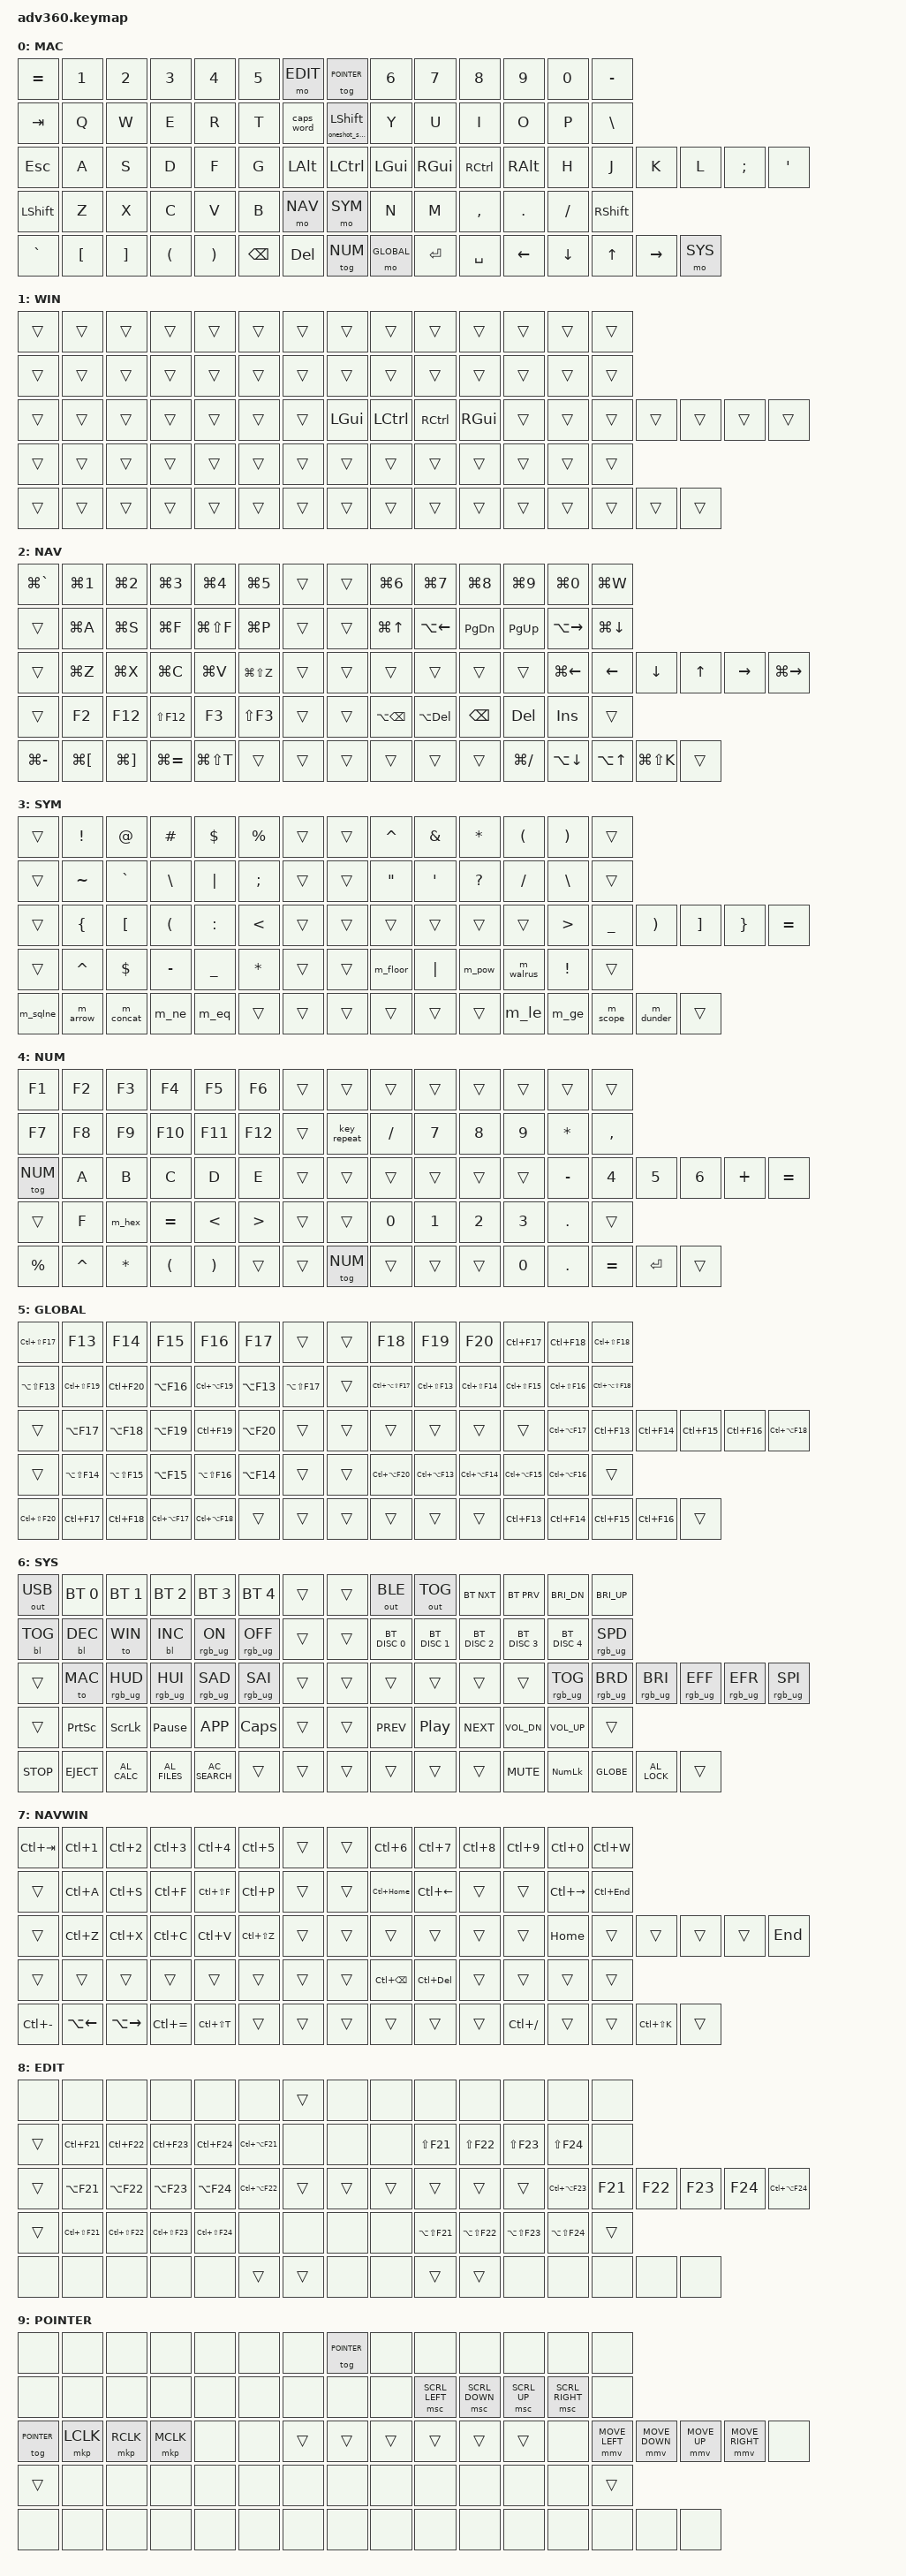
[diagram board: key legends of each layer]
/* Advantage360 Pro: immediate QWERTY, dedicated modifiers, macOS-first.
 * Positions and layer indices are stable; see the generated README diagrams.
 * EDIT/POINTER intentionally block unused keys. Git is the keymap authority.
 */
#include <behaviors.dtsi>
#include <dt-bindings/zmk/backlight.h>
#include <dt-bindings/zmk/bt.h>
#include <dt-bindings/zmk/keys.h>
#include <dt-bindings/zmk/outputs.h>
#include <dt-bindings/zmk/pointing.h>
#include <dt-bindings/zmk/rgb.h>
#include "macros.dtsi"

#define MAC      0
#define WIN      1
#define NAV      2
#define SYM      3
#define NUM      4
#define GLOBAL   5
#define SYS      6
#define NAV_WIN  7
#define EDIT     8
#define POINTER  9
#define KEYS_L  0  1  2  3  4  5  6 14 15 16 17 18 19 20 28 29 30 31 32 33 34 46 47 48 49 50 51 60 61 62 63 64
#define KEYS_R  7  8  9 10 11 12 13 21 22 23 24 25 26 27 39 40 41 42 43 44 45 54 55 56 57 58 59 71 72 73 74 75
#define THUMBS 35 36 37 38 52 53 65 66 67 68 69 70

/ {
    behaviors {
        oneshot_shift: oneshot_shift {
            compatible = "zmk,behavior-sticky-key";
            #binding-cells = <1>;
            release-after-ms = <1000>;
            quick-release;
            bindings = <&kp>;
        };
    };
    conditional_layers {
        compatible = "zmk,conditional-layers";
        nav_win {
            if-layers = <WIN NAV>;
            then-layer = <NAV_WIN>;
        };
    };
    combos {
        compatible = "zmk,combos";
        // SYS-only bilateral maintenance chords; no typing combos.
        combo_bt_clear {
            timeout-ms = <150>;
            key-positions = <0 13>;
            layers = <SYS>;
            bindings = <&bt BT_CLR>;
        };
        combo_sys_reset {
            timeout-ms = <150>;
            key-positions = <46 59>;
            layers = <SYS>;
            bindings = <&sys_reset>;
        };
        combo_bootloader {
            timeout-ms = <250>;
            key-positions = <20 21>;
            layers = <SYS>;
            bindings = <&bootloader>;
        };
    };
    keymap {
        compatible = "zmk,keymap";

        // Plain QWERTY. NUM/POINTER toggle; NAV/SYM/EDIT/GLOBAL are momentary.
        layer_mac {
            display-name = "MAC";
            bindings = <
                &kp EQUAL              &kp N1                 &kp N2                 &kp N3                 &kp N4                 &kp N5                 &mo EDIT               &tog POINTER           &kp N6                 &kp N7                 &kp N8                 &kp N9                 &kp N0                 &kp MINUS
                &kp TAB                &kp Q                  &kp W                  &kp E                  &kp R                  &kp T                  &caps_word             &oneshot_shift LSHFT   &kp Y                  &kp U                  &kp I                  &kp O                  &kp P                  &kp BSLH
                &kp ESC                &kp A                  &kp S                  &kp D                  &kp F                  &kp G                  &kp LALT               &kp LCTRL              &kp LGUI               &kp RGUI               &kp RCTRL              &kp RALT               &kp H                  &kp J                  &kp K                  &kp L                  &kp SEMI               &kp SQT
                &kp LSHFT              &kp Z                  &kp X                  &kp C                  &kp V                  &kp B                  &mo NAV                &mo SYM                &kp N                  &kp M                  &kp COMMA              &kp DOT                &kp FSLH               &kp RSHFT
                &kp GRAVE              &kp LBKT               &kp RBKT               &kp LPAR               &kp RPAR               &kp BSPC               &kp DEL                &tog NUM               &mo GLOBAL             &kp ENTER              &kp SPACE              &kp LEFT               &kp DOWN               &kp UP                 &kp RIGHT              &mo SYS
            >;
        };

        // Ctrl/GUI thumb swap for Windows and Linux; MAC is the fallback base.
        layer_win {
            display-name = "WIN";
            bindings = <
                &trans                 &trans                 &trans                 &trans                 &trans                 &trans                 &trans                 &trans                 &trans                 &trans                 &trans                 &trans                 &trans                 &trans
                &trans                 &trans                 &trans                 &trans                 &trans                 &trans                 &trans                 &trans                 &trans                 &trans                 &trans                 &trans                 &trans                 &trans
                &trans                 &trans                 &trans                 &trans                 &trans                 &trans                 &trans                 &kp LGUI               &kp LCTRL              &kp RCTRL              &kp RGUI               &trans                 &trans                 &trans                 &trans                 &trans                 &trans                 &trans
                &trans                 &trans                 &trans                 &trans                 &trans                 &trans                 &trans                 &trans                 &trans                 &trans                 &trans                 &trans                 &trans                 &trans
                &trans                 &trans                 &trans                 &trans                 &trans                 &trans                 &trans                 &trans                 &trans                 &trans                 &trans                 &trans                 &trans                 &trans                 &trans                 &trans
            >;
        };

        // JKL; arrows; H/quote line edges; UIOP words/pages; Y/backslash document edges.
        layer_nav {
            display-name = "NAV";
            bindings = <
                &kp LG(GRAVE)          &kp LG(N1)             &kp LG(N2)             &kp LG(N3)             &kp LG(N4)             &kp LG(N5)             &trans                 &trans                 &kp LG(N6)             &kp LG(N7)             &kp LG(N8)             &kp LG(N9)             &kp LG(N0)             &kp LG(W)
                &trans                 &kp LG(A)              &kp LG(S)              &kp LG(F)              &kp LG(LS(F))          &kp LG(P)              &trans                 &trans                 &kp LG(UP)             &kp LA(LEFT)           &kp PG_DN              &kp PG_UP              &kp LA(RIGHT)          &kp LG(DOWN)
                &trans                 &kp LG(Z)              &kp LG(X)              &kp LG(C)              &kp LG(V)              &kp LG(LS(Z))          &trans                 &trans                 &trans                 &trans                 &trans                 &trans                 &kp LG(LEFT)           &kp LEFT               &kp DOWN               &kp UP                 &kp RIGHT              &kp LG(RIGHT)
                &trans                 &kp F2                 &kp F12                &kp LS(F12)            &kp F3                 &kp LS(F3)             &trans                 &trans                 &kp LA(BSPC)           &kp LA(DEL)            &kp BSPC               &kp DEL                &kp INS                &trans
                &kp LG(MINUS)          &kp LG(LBKT)           &kp LG(RBKT)           &kp LG(EQUAL)          &kp LG(LS(T))          &trans                 &trans                 &trans                 &trans                 &trans                 &trans                 &kp LG(FSLH)           &kp LA(DOWN)           &kp LA(UP)             &kp LG(LS(K))          &trans
            >;
        };

        // ABC/US symbols. F colon, J underscore; N floor division.
        layer_sym {
            display-name = "SYM";
            bindings = <
                &trans                 &kp EXCL               &kp AT                 &kp HASH               &kp DLLR               &kp PRCNT              &trans                 &trans                 &kp CARET              &kp AMPS               &kp ASTRK              &kp LPAR               &kp RPAR               &trans
                &trans                 &kp TILDE              &kp GRAVE              &kp BSLH               &kp PIPE               &kp SEMI               &trans                 &trans                 &kp DQT                &kp SQT                &kp QMARK              &kp FSLH               &kp BSLH               &trans
                &trans                 &kp LBRC               &kp LBKT               &kp LPAR               &kp COLON              &kp LT                 &trans                 &trans                 &trans                 &trans                 &trans                 &trans                 &kp GT                 &kp UNDER              &kp RPAR               &kp RBKT               &kp RBRC               &kp EQUAL
                &trans                 &kp CARET              &kp DLLR               &kp MINUS              &kp UNDER              &kp ASTRK              &trans                 &trans                 &m_floor               &kp PIPE               &m_pow                 &m_walrus              &kp EXCL               &trans
                &m_sqlne               &m_arrow               &m_concat              &m_ne                  &m_eq                  &trans                 &trans                 &trans                 &trans                 &trans                 &trans                 &m_le                  &m_ge                  &m_scope               &m_dunder              &trans
            >;
        };

        // Thumb 67 toggles. Escape exits. Digits ignore NumLock.
        layer_num {
            display-name = "NUM";
            bindings = <
                &kp F1                 &kp F2                 &kp F3                 &kp F4                 &kp F5                 &kp F6                 &trans                 &trans                 &trans                 &trans                 &trans                 &trans                 &trans                 &trans
                &kp F7                 &kp F8                 &kp F9                 &kp F10                &kp F11                &kp F12                &trans                 &key_repeat            &kp FSLH                 &kp N7                 &kp N8                 &kp N9               &kp ASTRK              &kp COMMA
                &tog NUM               &kp A                  &kp B                  &kp C                  &kp D                  &kp E                  &trans                 &trans                 &trans                 &trans                 &trans                 &trans                 &kp MINUS                 &kp N4                 &kp N5                 &kp N6              &kp PLUS               &kp EQUAL
                &trans                 &kp F                  &m_hex                 &kp EQUAL              &kp LT                 &kp GT                 &trans                 &trans                 &kp N0                 &kp N1                 &kp N2                 &kp N3                &kp DOT              &trans
                &kp PRCNT              &kp CARET              &kp ASTRK              &kp LPAR               &kp RPAR               &trans                 &trans                 &tog NUM               &trans                 &trans                 &trans                 &kp N0                 &kp DOT                &kp EQUAL              &kp ENTER              &trans
            >;
        };

        // F13-F20 protocol. JKL; focus; UIOP move; M,./ resize.
        layer_global {
            display-name = "GLOBAL";
            bindings = <
                &kp LC(LS(F17))        &kp F13                &kp F14                &kp F15                &kp F16                &kp F17                &trans                 &trans                 &kp F18                &kp F19                &kp F20                &kp LC(F17)            &kp LC(F18)            &kp LC(LS(F18))
                &kp LA(LS(F13))        &kp LC(LS(F19))        &kp LC(F20)            &kp LA(F16)            &kp LC(LA(F19))        &kp LA(F13)            &kp LA(LS(F17))        &trans                 &kp LC(LA(LS(F17)))    &kp LC(LS(F13))        &kp LC(LS(F14))        &kp LC(LS(F15))        &kp LC(LS(F16))        &kp LC(LA(LS(F18)))
                &trans                 &kp LA(F17)            &kp LA(F18)            &kp LA(F19)            &kp LC(F19)            &kp LA(F20)            &trans                 &trans                 &trans                 &trans                 &trans                 &trans                 &kp LC(LA(F17))        &kp LC(F13)            &kp LC(F14)            &kp LC(F15)            &kp LC(F16)            &kp LC(LA(F18))
                &trans                 &kp LA(LS(F14))        &kp LA(LS(F15))        &kp LA(F15)            &kp LA(LS(F16))        &kp LA(F14)            &trans                 &trans                 &kp LC(LA(F20))        &kp LC(LA(F13))        &kp LC(LA(F14))        &kp LC(LA(F15))        &kp LC(LA(F16))        &trans
                &kp LC(LS(F20))        &kp LC(F17)            &kp LC(F18)            &kp LC(LA(F17))        &kp LC(LA(F18))        &trans                 &trans                 &trans                 &trans                 &trans                 &trans                 &kp LC(F13)            &kp LC(F14)            &kp LC(F15)            &kp LC(F16)            &trans
            >;
        };

        // Maintenance. Exit EDIT/POINTER before accessing SYS.
        layer_sys {
            display-name = "SYS";
            bindings = <
                &out OUT_USB           &bt BT_SEL 0           &bt BT_SEL 1           &bt BT_SEL 2           &bt BT_SEL 3           &bt BT_SEL 4           &trans                 &trans                 &out OUT_BLE           &out OUT_TOG           &bt BT_NXT             &bt BT_PRV             &kp C_BRI_DN           &kp C_BRI_UP
                &bl BL_TOG             &bl BL_DEC             &to WIN                &bl BL_INC             &rgb_ug RGB_ON         &rgb_ug RGB_OFF        &trans                 &trans                 &bt BT_DISC 0          &bt BT_DISC 1          &bt BT_DISC 2          &bt BT_DISC 3          &bt BT_DISC 4          &rgb_ug RGB_SPD
                &trans                 &to MAC                &rgb_ug RGB_HUD        &rgb_ug RGB_HUI        &rgb_ug RGB_SAD        &rgb_ug RGB_SAI        &trans                 &trans                 &trans                 &trans                 &trans                 &trans                 &rgb_ug RGB_TOG        &rgb_ug RGB_BRD        &rgb_ug RGB_BRI        &rgb_ug RGB_EFF        &rgb_ug RGB_EFR        &rgb_ug RGB_SPI
                &trans                 &kp PSCRN              &kp SLCK               &kp PAUSE_BREAK        &kp K_APP              &kp CAPS               &trans                 &trans                 &kp C_PREV             &kp C_PP               &kp C_NEXT             &kp C_VOL_DN           &kp C_VOL_UP           &trans
                &kp C_STOP             &kp C_EJECT            &kp C_AL_CALC          &kp C_AL_FILES         &kp C_AC_SEARCH        &trans                 &trans                 &trans                 &trans                 &trans                 &trans                 &kp C_MUTE             &kp KP_NUM             &kp GLOBE              &kp C_AL_LOCK          &trans
            >;
        };

        // Conditional WIN+NAV override, including Home/End line movement.
        layer_nav_win {
            display-name = "NAVWIN";
            bindings = <
                &kp LC(TAB)            &kp LC(N1)             &kp LC(N2)             &kp LC(N3)             &kp LC(N4)             &kp LC(N5)             &trans                 &trans                 &kp LC(N6)             &kp LC(N7)             &kp LC(N8)             &kp LC(N9)             &kp LC(N0)             &kp LC(W)
                &trans                 &kp LC(A)              &kp LC(S)              &kp LC(F)              &kp LC(LS(F))          &kp LC(P)              &trans                 &trans                 &kp LC(HOME)           &kp LC(LEFT)           &trans                 &trans                 &kp LC(RIGHT)          &kp LC(END)
                &trans                 &kp LC(Z)              &kp LC(X)              &kp LC(C)              &kp LC(V)              &kp LC(LS(Z))          &trans                 &trans                 &trans                 &trans                 &trans                 &trans                 &kp HOME               &trans                 &trans                 &trans                 &trans                 &kp END
                &trans                 &trans                 &trans                 &trans                 &trans                 &trans                 &trans                 &trans                 &kp LC(BSPC)           &kp LC(DEL)            &trans                 &trans                 &trans                 &trans
                &kp LC(MINUS)          &kp LA(LEFT)           &kp LA(RIGHT)          &kp LC(EQUAL)          &kp LC(LS(T))          &trans                 &trans                 &trans                 &trans                 &trans                 &trans                 &kp LC(FSLH)           &trans                 &trans                 &kp LC(LS(K))          &trans
            >;
        };

        // F21-F24 editor protocol; unused positions are deliberately inactive.
        layer_edit {
            display-name = "EDIT";
            bindings = <
                &none                  &none                  &none                  &none                  &none                  &none                  &trans                 &none                  &none                  &none                  &none                  &none                  &none                  &none
                &trans                 &kp LC(F21)            &kp LC(F22)            &kp LC(F23)            &kp LC(F24)            &kp LC(LA(F21))        &none                  &none                  &none                  &kp LS(F21)            &kp LS(F22)            &kp LS(F23)            &kp LS(F24)            &none
                &trans                 &kp LA(F21)            &kp LA(F22)            &kp LA(F23)            &kp LA(F24)            &kp LC(LA(F22))        &trans                 &trans                 &trans                 &trans                 &trans                 &trans                 &kp LC(LA(F23))        &kp F21                &kp F22                &kp F23                &kp F24                &kp LC(LA(F24))
                &trans                 &kp LC(LS(F21))        &kp LC(LS(F22))        &kp LC(LS(F23))        &kp LC(LS(F24))        &none                  &none                  &none                  &none                  &kp LA(LS(F21))        &kp LA(LS(F22))        &kp LA(LS(F23))        &kp LA(LS(F24))        &trans
                &none                  &none                  &none                  &none                  &none                  &trans                 &trans                 &none                  &none                  &trans                 &trans                 &none                  &none                  &none                  &none                  &none
            >;
        };

        // 7 toggles; Escape exits. Buttons are held, never latched.
        layer_pointer {
            display-name = "POINTER";
            bindings = <
                &none                  &none                  &none                  &none                  &none                  &none                  &none                  &tog POINTER           &none                  &none                  &none                  &none                  &none                  &none
                &none                  &none                  &none                  &none                  &none                  &none                  &none                  &none                  &none                  &msc SCRL_LEFT         &msc SCRL_DOWN         &msc SCRL_UP           &msc SCRL_RIGHT        &none
                &tog POINTER           &mkp LCLK              &mkp RCLK              &mkp MCLK              &none                  &none                  &trans                 &trans                 &trans                 &trans                 &trans                 &trans                 &none                  &mmv MOVE_LEFT         &mmv MOVE_DOWN         &mmv MOVE_UP           &mmv MOVE_RIGHT        &none
                &trans                 &none                  &none                  &none                  &none                  &none                  &none                  &none                  &none                  &none                  &none                  &none                  &none                  &trans
                &none                  &none                  &none                  &none                  &none                  &none                  &none                  &none                  &none                  &none                  &none                  &none                  &none                  &none                  &none                  &none
            >;
        };
    };
};
